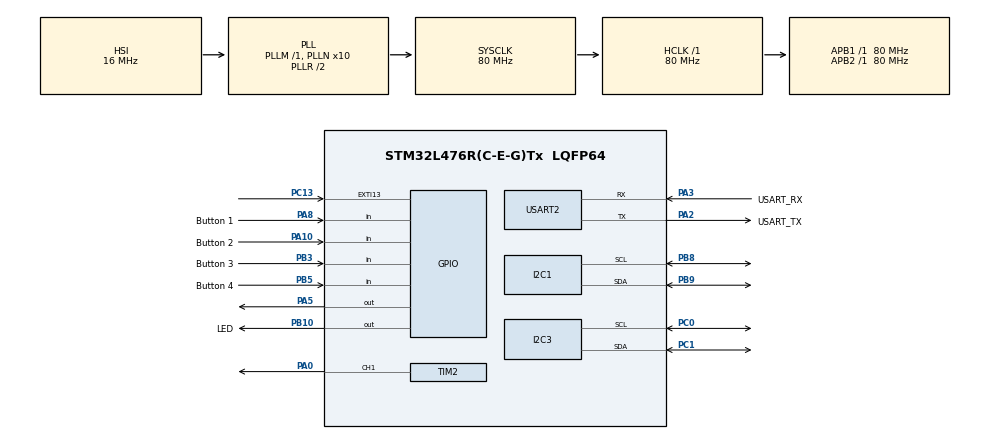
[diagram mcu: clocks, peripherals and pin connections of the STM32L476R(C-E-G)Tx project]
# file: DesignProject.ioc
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I2C1.Timing=0x10D19CE4
I2C3.Timing=0x10D19CE4
Mcu.Family=STM32L4
Mcu.Name=STM32L476R(C-E-G)Tx
Mcu.Package=LQFP64
NUCLEO-L476RG.BUTTON=1
NUCLEO-L476RG.LD2=true
NVIC.EXTI15_10_IRQn=true\:0\:0\:false\:false\:true\:false\:true\:true
NVIC.PriorityGroup=NVIC_PRIORITYGROUP_4
PA0.Signal=S_TIM2_CH1
PA10.GPIO_Label=Button 2
PA10.GPIO_PuPd=GPIO_PULLUP
PA10.Signal=GPIO_Input
PA13\ (JTMS-SWDIO).GPIO_Label=TMS
PA13\ (JTMS-SWDIO).Signal=SYS_JTMS-SWDIO
PA14\ (JTCK-SWCLK).GPIO_Label=TCK
PA14\ (JTCK-SWCLK).Signal=SYS_JTCK-SWCLK
PA2.GPIO_Label=USART_TX
PA2.GPIO_Mode=GPIO_MODE_AF_PP
PA2.GPIO_PuPd=GPIO_NOPULL
PA2.GPIO_Speed=GPIO_SPEED_FREQ_VERY_HIGH
PA2.Mode=Asynchronous
PA2.Signal=USART2_TX
PA3.GPIO_Label=USART_RX
PA3.GPIO_Mode=GPIO_MODE_AF_PP
PA3.GPIO_PuPd=GPIO_NOPULL
PA3.GPIO_Speed=GPIO_SPEED_FREQ_VERY_HIGH
PA3.Mode=Asynchronous
PA3.Signal=USART2_RX
PA5.Signal=GPIO_Output
PA8.GPIO_Label=Button 1
PA8.GPIO_PuPd=GPIO_PULLUP
PA8.Signal=GPIO_Input
PB10.GPIO_Label=LED
PB10.Signal=GPIO_Output
PB3\ (JTDO-TRACESWO).GPIO_Label=Button 3
PB3\ (JTDO-TRACESWO).GPIO_PuPd=GPIO_PULLUP
PB3\ (JTDO-TRACESWO).Signal=GPIO_Input
PB5.GPIO_Label=Button 4
PB5.GPIO_PuPd=GPIO_PULLUP
PB5.Signal=GPIO_Input
PB8.GPIO_Pu=GPIO_PULLUP
PB8.Mode=I2C
PB8.Signal=I2C1_SCL
PB9.GPIO_Pu=GPIO_PULLUP
PB9.Mode=I2C
PB9.Signal=I2C1_SDA
PC0.Mode=I2C
PC0.Signal=I2C3_SCL
PC1.Mode=I2C
PC1.Signal=I2C3_SDA
PC13.Signal=GPXTI13
PC14-OSC32_IN\ (PC14).Signal=RCC_OSC32_IN
PC15-OSC32_OUT\ (PC15).Signal=RCC_OSC32_OUT
PH0-OSC_IN\ (PH0).Signal=RCC_OSC_IN
PH1-OSC_OUT\ (PH1).Signal=RCC_OSC_OUT
ProjectManager.HeapSize=0x200
ProjectManager.StackSize=0x400
ProjectManager.TargetToolchain=CMake
RCC.ADCFreq_Value=64000000
RCC.AHBFreq_Value=80000000
RCC.APB1Freq_Value=80000000
RCC.APB1TimFreq_Value=80000000
RCC.APB2Freq_Value=80000000
RCC.APB2TimFreq_Value=80000000
RCC.CortexFreq_Value=80000000
RCC.HCLKFreq_Value=80000000
RCC.HSE_VALUE=8000000
RCC.HSI_VALUE=16000000
RCC.LSE_VALUE=32768
RCC.MSI_VALUE=4000000
RCC.PLLN=10
RCC.PLLSourceVirtual=RCC_PLLSOURCE_HSI
RCC.PREFETCH_ENABLE=1
RCC.SYSCLKFreq_VALUE=80000000
RCC.SYSCLKSource=RCC_SYSCLKSOURCE_PLLCLK
RCC.USBFreq_Value=64000000
RCC.VCOOutputFreq_Value=160000000
SH.S_TIM2_CH1.0=TIM2_CH1,PWM Generation1 CH1
TIM2.AutoReloadPreload=TIM_AUTORELOAD_PRELOAD_ENABLE
TIM2.Channel-PWM\ Generation1\ CH1=TIM_CHANNEL_1
TIM2.Period=999
TIM2.Prescaler=79
TIM2.Pulse-PWM\ Generation1\ CH1=500
USART2.VirtualMode-Asynchronous=VM_ASYNC
VP_NUCLEO-L476RG_VS_BSP_COMMON.Mode=COMMON
board=NUCLEO-L476RG

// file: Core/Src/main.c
/* USER CODE BEGIN Header */
/**
 ******************************************************************************
 * @file           : main.c
 * @brief          : Main program body
 ******************************************************************************
 * @attention
 *
 * Copyright (c) 2026 STMicroelectronics.
 * All rights reserved.
 *
 * This software is licensed under terms that can be found in the LICENSE file
 * in the root directory of this software component.
 * If no LICENSE file comes with this software, it is provided AS-IS.
 *
 ******************************************************************************
 */
/* USER CODE END Header */
#include "main.h"

/* USER CODE BEGIN Includes */
#include "LCD1602_I2C.h"
#include "buttons.h"
#include "oximeter.h"
#include "stm32l4xx_hal.h"
#include "stm32l4xx_hal_gpio.h"
#include "stm32l4xx_hal_tim.h"
#include <math.h>
#include <stdbool.h>
#include <stdint.h>
#include <stdio.h>
#include <string.h>
#include <strings.h>
#include "sss_detect.h"

/* USER CODE END Includes */

/* USER CODE BEGIN PD */
#define POLL_MS       250u /* sensor/display update period (ms) */
#define HIST_N        5    /* readings that must agree before HR is shown */
#define HR_SPREAD_MAX 12   /* max spread (bpm) across those readings */
#define LOST_GRACE    12   /* bad readings before finger counts as gone (3 s) */
/* USER CODE END PD */

I2C_HandleTypeDef hi2c1;
I2C_HandleTypeDef hi2c3;

TIM_HandleTypeDef htim2;

UART_HandleTypeDef huart2;

void SystemClock_Config(void);
static void MX_GPIO_Init(void);
static void MX_TIM2_Init(void);
static void MX_USART2_UART_Init(void);
static void MX_I2C1_Init(void);
static void MX_I2C3_Init(void);

/* USER CODE BEGIN 0 */
/* Pad to 16 chars so old text is overwritten */
static void pad16(char *s) {
  size_t n = strlen(s);
  while (n < 16u) {
    s[n++] = ' ';
  }
  s[16] = '\0';
}

/* HR display filter: show the median once the last HIST_N readings agree */
typedef struct {
  int32_t buf[HIST_N];
  uint8_t cnt;
  uint8_t idx;
} Hist;

static Hist s_hr_hist;
static int32_t s_hr_shown = -1;
static int32_t s_spo2_shown = -1;
static uint16_t s_lost = 0;

static void hist_reset(Hist *h) {
  h->cnt = 0;
  h->idx = 0;
}

static void hist_push(Hist *h, int32_t v) {
  h->buf[h->idx] = v;
  h->idx = (uint8_t)((h->idx + 1u) % HIST_N);
  if (h->cnt < HIST_N) {
    h->cnt++;
  }
}

/* Median if history is full and settled, else -1 */
static int32_t hist_stable(const Hist *h, int32_t spread_max) {
  int32_t t[HIST_N];
  uint8_t i, j;

  if (h->cnt < HIST_N) {
    return -1;
  }
  for (i = 0; i < HIST_N; i++) {
    t[i] = h->buf[i];
  }
  for (i = 1; i < HIST_N; i++) { /* insertion sort */
    int32_t k = t[i];
    j = i;
    while (j > 0u && t[j - 1] > k) {
      t[j] = t[j - 1];
      j--;
    }
    t[j] = k;
  }
  if ((t[HIST_N - 1] - t[0]) > spread_max) {
    return -1;
  }
  return t[HIST_N / 2];
}

typedef enum { ST_NO_FINGER, ST_MEASURING, ST_SHOW } DispState;

static DispState hr_step(int32_t raw_hr, int32_t raw_spo2) {
  if (raw_hr <= 0) {
    s_lost++;
    if (s_lost > LOST_GRACE) { /* finger really gone */
      hist_reset(&s_hr_hist);
      s_hr_shown = -1;
      s_spo2_shown = -1;
      return ST_NO_FINGER;
    }
    /* within grace period: hold what's on screen */
    if (s_hr_shown > 0) {
      return ST_SHOW;
    }
    if (s_hr_hist.cnt > 0) {
      return ST_MEASURING;
    }
    return ST_NO_FINGER;
  }

  s_lost = 0;
  hist_push(&s_hr_hist, raw_hr);
  {
    int32_t v = hist_stable(&s_hr_hist, HR_SPREAD_MAX);
    if (v > 0) {
      s_hr_shown = v;
      if (raw_spo2 > 0) {
        s_spo2_shown = raw_spo2;
      }
      return ST_SHOW;
    }
  }
  if (s_hr_shown > 0) {
    return ST_SHOW;
  } /* settled already, one bad tick */
  return ST_MEASURING;
}

static void build_lines(DispState st, uint8_t comm_ok, uint8_t spin, char *l1,
                        char *l2) {
  static const char *dots[4] = {"   ", ".  ", ".. ", "..."};

  if (!comm_ok) {
    strcpy(l1, "Sensor offline");
    strcpy(l2, "Check wiring");
  } else if (st == ST_NO_FINGER) {
    snprintf(l1, 17, "Place finger%s", dots[spin & 3u]);
    l2[0] = '\0';
  } else if (st == ST_MEASURING) {
    snprintf(l1, 17, "Measuring%s", dots[spin & 3u]);
    strcpy(l2, "Hold still");
  } else {
    int sp = (s_spo2_shown > 0 && s_spo2_shown <= 100) ? (int)s_spo2_shown : 0;
    int hr = (s_hr_shown > 0 && s_hr_shown <= 999) ? (int)s_hr_shown : 0;
    snprintf(l1, 17, "HR   %3d bpm", hr);
    snprintf(l2, 17, "SpO2 %3d %%", sp);
  }
  pad16(l1);
  pad16(l2);
}

/* Screens, menu items and settings */
typedef enum { UI_HOME, UI_MENU, UI_ALARM } UiState;
typedef enum { MI_LED, MI_SOUND, MI_SIM, MI_COUNT } MenuItem;

static UiState s_ui = UI_HOME;
static uint8_t s_cursor = 0;
static uint8_t s_led_alert = 1;
static uint8_t s_sound_alert = 1;
static uint8_t s_sim_mode = 0;

/* Button actions for the current screen */
static void ui_handle_buttons(void) {
    uint8_t menu = Buttons_Pressed(BTN_MENU);
    uint8_t back = Buttons_Pressed(BTN_BACK);
    uint8_t up = Buttons_Pressed(BTN_UP);
    uint8_t down = Buttons_Pressed(BTN_DOWN);

    switch (s_ui) {
        case UI_HOME:
            if (menu) {
                s_ui = UI_MENU;
                s_cursor = 0;
            }
            break;

        case UI_MENU:
            if (down) {
                s_cursor = (s_cursor + 1) % MI_COUNT;
            }
            if (up) {
                s_cursor = (s_cursor + MI_COUNT - 1) % MI_COUNT;
            }
            if (back) {
                s_ui = UI_HOME;
                s_cursor = 0;
            }

            else if (menu) {
                switch (s_cursor) {
                    case MI_LED:
                        s_led_alert = !s_led_alert;
                        break;
                    case MI_SOUND:
                        s_sound_alert = !s_sound_alert;
                        break;
                    case MI_SIM:
                        s_sim_mode = !s_sim_mode;
                        SSS_Init();
                        break;
                }
            }
            break;

        case UI_ALARM:
            if (menu) {
                SSS_Acknowledge(HAL_GetTick());
                s_ui = UI_HOME;
                s_cursor = 0;
            }
            break;
    }
}

/* Text for one menu item */
static void menu_label(uint8_t item, char *out) {
    switch (item) {
        case MI_LED:
            snprintf(out, 15, "LED alert %s", s_led_alert ? " ON" : "OFF");
            break;
        case MI_SOUND:
            snprintf(out, 15, "Sound     %s", s_sound_alert ? " ON" : "OFF");
            break;
        case MI_SIM:
            snprintf(out, 15, "Simulate  %s", s_sim_mode ? " ON" : "OFF");
            break;
    }
}

/* Set piezo frequency (timer ticks at 1 MHz) */
static void tone_set(uint32_t freq){
    uint32_t arr = 1000000u / freq -1;
    __HAL_TIM_SET_AUTORELOAD(&htim2, arr);
    __HAL_TIM_SET_COMPARE(&htim2, TIM_CHANNEL_1, (arr + 1) / 2);
}

/* LED triple flash and two-tone siren, gated by the menu settings */
static void alarm_output(uint8_t led_on, uint8_t sound_on){
    uint32_t now = HAL_GetTick();
    uint32_t led_phase = now % 1000;
    uint32_t tone_phase = now % 500;
    static uint32_t current_freq = 0;
    static uint8_t pwm_status = 0;

    if(led_on && s_led_alert){
        if (led_phase < 500){
            if (led_phase % 200 < 100){
                HAL_GPIO_WritePin(LED_GPIO_Port, LED_Pin, GPIO_PIN_SET);
            } else {
                HAL_GPIO_WritePin(LED_GPIO_Port, LED_Pin, GPIO_PIN_RESET);
            }
        } else {
            HAL_GPIO_WritePin(LED_GPIO_Port, LED_Pin, GPIO_PIN_RESET);
        }
    } else {
        HAL_GPIO_WritePin(LED_GPIO_Port, LED_Pin, GPIO_PIN_RESET);
    }
    if (sound_on && s_sound_alert) {
        if (pwm_status == 0) {
            HAL_TIM_PWM_Start(&htim2, TIM_CHANNEL_1);
            pwm_status = 1;
        }
        if(tone_phase < 250) {
            if (current_freq != 3000){
                current_freq = 3000;
                tone_set(current_freq);
            }
        } else if (current_freq != 4000){
            current_freq = 4000;
            tone_set(4000);
        }
    } else if (pwm_status == 1) {
        HAL_TIM_PWM_Stop(&htim2, TIM_CHANNEL_1);
        pwm_status = 0;
        current_freq = 0;
    }
}

/* Fake erratic BPM for the demo, new value every 4 s */
static float sim_bpm(void){
    static const float seq[] = { 60, 95, 58, 100, 65, 92, 55, 95 };

    uint8_t index = (HAL_GetTick() / 4000) % 8;

    return seq[index];
}

/* USER CODE END 0 */

int main(void) {

  /* MCU Configuration--------------------------------------------------------*/

  /* Reset of all peripherals, Initializes the Flash interface and the Systick.
   */
  HAL_Init();

  /* Configure the system clock */
  SystemClock_Config();

  /* Initialize all configured peripherals */
  MX_GPIO_Init();
  MX_TIM2_Init();
  MX_USART2_UART_Init();
  MX_I2C1_Init();
  MX_I2C3_Init();
  /* USER CODE BEGIN 2 */
  SSS_Init();
  lcd_init(&hi2c1);
  lcd_put_cur(0, 0);
  lcd_send_string(Oxi_IsPresent(&hi2c3) ? "HR OK" : "HR missing");
  Oxi_Start(&hi2c3);
  hist_reset(&s_hr_hist);
  HAL_Delay(1000);

  uint32_t last = 0;
  uint8_t spin = 0;
  uint32_t t_btn = 0;
  char line1[17], line2[17];
  char prev1[17] = "", prev2[17] = "";
  char a[15], b[15];

  /* Start-up beeps */
  tone_set(1000);
  for (int i = 0; i < 3; i++) {
    HAL_GPIO_WritePin(LED_GPIO_Port, LED_Pin, GPIO_PIN_SET);
    HAL_TIM_PWM_Start(&htim2, TIM_CHANNEL_1);
    HAL_Delay(150);
    HAL_GPIO_WritePin(LED_GPIO_Port, LED_Pin, GPIO_PIN_RESET);
    HAL_TIM_PWM_Stop(&htim2, TIM_CHANNEL_1);
    HAL_Delay(150);
  }

  /* USER CODE END 2 */

  /* Initialize leds */
  BSP_LED_Init(LED_GREEN);

  /* Initialize USER push-button, will be used to trigger an interrupt each time
   * it's pressed.*/
  BSP_PB_Init(BUTTON_USER, BUTTON_MODE_EXTI);

  /* Infinite loop */
  while (1) {

    /* USER CODE BEGIN 3 */
    /* Buttons every 10 ms */
    if (HAL_GetTick() - t_btn >= 10) {
      t_btn = HAL_GetTick();
      Buttons_Task();
      ui_handle_buttons();
    }
    /* Sensor, detector and display every POLL_MS */
    if (HAL_GetTick() - last >= POLL_MS) {
      last = HAL_GetTick();

      OxiReading rd;
      uint8_t ok = (Oxi_Read(&rd) == HAL_OK) ? 1u : 0u;
      DispState st = ok ? hr_step(rd.heartbeat, rd.spo2) : ST_NO_FINGER;

      /* Real or simulated input to the detector */
      float bpm = s_sim_mode ? sim_bpm() : (float)rd.heartbeat;
      bool finger = s_sim_mode ? true : (st != ST_NO_FINGER);

      SSS_OnReading(HAL_GetTick(), bpm);
      SSS_Update(HAL_GetTick(), finger);

      const SSS_Status *s = SSS_GetStatus();

      /* Show the alarm screen when the piezo should sound */
      if (s->sound && s_ui == UI_HOME) {
        s_ui = UI_ALARM;
      }

      /* Build the two LCD lines for the current screen */
      if (s_ui == UI_MENU) {
        menu_label(s_cursor, a);
        menu_label((s_cursor + 1) % MI_COUNT, b);

        snprintf(line1, 17, "> %s", a);
        snprintf(line2, 17, "  %s", b);

        pad16(line1);
        pad16(line2);
      } else if (s_ui == UI_ALARM) {
        SSS_GetText(line1);
        strcpy(line2, "Menu = silence");
        pad16(line1);
        pad16(line2);
      } else {
        if (s_sim_mode){
            SSS_GetText(line1);
            strcpy(line2, "** SIMULATION **");
            pad16(line1);
            pad16(line2);
        } else {
            build_lines(st, ok, spin, line1, line2);
        }
      }

      /* Only redraw lines that changed */
      if (strncmp(prev1, line1, 16) != 0) {
        lcd_put_cur(0, 0);
        lcd_send_string(line1);
        strncpy(prev1, line1, sizeof prev1);
      }
      if (strncmp(prev2, line2, 16) != 0) {
        lcd_put_cur(1, 0);
        lcd_send_string(line2);
        strncpy(prev2, line2, sizeof prev2);
      }
      spin++;
    }
    /* Alarm outputs run every pass so the patterns stay smooth */
    const SSS_Status *s = SSS_GetStatus();
    alarm_output(s->alarm, s->sound);
  }
  /* USER CODE END 3 */
}

void SystemClock_Config(void) {
  RCC_OscInitTypeDef RCC_OscInitStruct = {0};
  RCC_ClkInitTypeDef RCC_ClkInitStruct = {0};

  /** Configure the main internal regulator output voltage
   */
  if (HAL_PWREx_ControlVoltageScaling(PWR_REGULATOR_VOLTAGE_SCALE1) != HAL_OK) {
    Error_Handler();
  }

  /** Initializes the RCC Oscillators according to the specified parameters
   * in the RCC_OscInitTypeDef structure.
   */
  RCC_OscInitStruct.OscillatorType = RCC_OSCILLATORTYPE_HSI;
  RCC_OscInitStruct.HSIState = RCC_HSI_ON;
  RCC_OscInitStruct.HSICalibrationValue = RCC_HSICALIBRATION_DEFAULT;
  RCC_OscInitStruct.PLL.PLLState = RCC_PLL_ON;
  RCC_OscInitStruct.PLL.PLLSource = RCC_PLLSOURCE_HSI;
  RCC_OscInitStruct.PLL.PLLM = 1;
  RCC_OscInitStruct.PLL.PLLN = 10;
  RCC_OscInitStruct.PLL.PLLP = RCC_PLLP_DIV7;
  RCC_OscInitStruct.PLL.PLLQ = RCC_PLLQ_DIV2;
  RCC_OscInitStruct.PLL.PLLR = RCC_PLLR_DIV2;
  if (HAL_RCC_OscConfig(&RCC_OscInitStruct) != HAL_OK) {
    Error_Handler();
  }

  /** Initializes the CPU, AHB and APB buses clocks
   */
  RCC_ClkInitStruct.ClockType = RCC_CLOCKTYPE_HCLK | RCC_CLOCKTYPE_SYSCLK |
                                RCC_CLOCKTYPE_PCLK1 | RCC_CLOCKTYPE_PCLK2;
  RCC_ClkInitStruct.SYSCLKSource = RCC_SYSCLKSOURCE_PLLCLK;
  RCC_ClkInitStruct.AHBCLKDivider = RCC_SYSCLK_DIV1;
  RCC_ClkInitStruct.APB1CLKDivider = RCC_HCLK_DIV1;
  RCC_ClkInitStruct.APB2CLKDivider = RCC_HCLK_DIV1;

  if (HAL_RCC_ClockConfig(&RCC_ClkInitStruct, FLASH_LATENCY_4) != HAL_OK) {
    Error_Handler();
  }
}

static void MX_I2C1_Init(void) {

  hi2c1.Instance = I2C1;
  hi2c1.Init.Timing = 0x10D19CE4;
  hi2c1.Init.OwnAddress1 = 0;
  hi2c1.Init.AddressingMode = I2C_ADDRESSINGMODE_7BIT;
  hi2c1.Init.DualAddressMode = I2C_DUALADDRESS_DISABLE;
  hi2c1.Init.OwnAddress2 = 0;
  hi2c1.Init.OwnAddress2Masks = I2C_OA2_NOMASK;
  hi2c1.Init.GeneralCallMode = I2C_GENERALCALL_DISABLE;
  hi2c1.Init.NoStretchMode = I2C_NOSTRETCH_DISABLE;
  if (HAL_I2C_Init(&hi2c1) != HAL_OK) {
    Error_Handler();
  }

  /** Configure Analogue filter
   */
  if (HAL_I2CEx_ConfigAnalogFilter(&hi2c1, I2C_ANALOGFILTER_ENABLE) != HAL_OK) {
    Error_Handler();
  }

  /** Configure Digital filter
   */
  if (HAL_I2CEx_ConfigDigitalFilter(&hi2c1, 0) != HAL_OK) {
    Error_Handler();
  }
}

static void MX_I2C3_Init(void) {

  hi2c3.Instance = I2C3;
  hi2c3.Init.Timing = 0x10D19CE4;
  hi2c3.Init.OwnAddress1 = 0;
  hi2c3.Init.AddressingMode = I2C_ADDRESSINGMODE_7BIT;
  hi2c3.Init.DualAddressMode = I2C_DUALADDRESS_DISABLE;
  hi2c3.Init.OwnAddress2 = 0;
  hi2c3.Init.OwnAddress2Masks = I2C_OA2_NOMASK;
  hi2c3.Init.GeneralCallMode = I2C_GENERALCALL_DISABLE;
  hi2c3.Init.NoStretchMode = I2C_NOSTRETCH_DISABLE;
  if (HAL_I2C_Init(&hi2c3) != HAL_OK) {
    Error_Handler();
  }

  /** Configure Analogue filter
   */
  if (HAL_I2CEx_ConfigAnalogFilter(&hi2c3, I2C_ANALOGFILTER_ENABLE) != HAL_OK) {
    Error_Handler();
  }

  /** Configure Digital filter
   */
  if (HAL_I2CEx_ConfigDigitalFilter(&hi2c3, 0) != HAL_OK) {
    Error_Handler();
  }
}

static void MX_TIM2_Init(void) {

  TIM_MasterConfigTypeDef sMasterConfig = {0};
  TIM_OC_InitTypeDef sConfigOC = {0};

  htim2.Instance = TIM2;
  htim2.Init.Prescaler = 79;
  htim2.Init.CounterMode = TIM_COUNTERMODE_UP;
  htim2.Init.Period = 999;
  htim2.Init.ClockDivision = TIM_CLOCKDIVISION_DIV1;
  htim2.Init.AutoReloadPreload = TIM_AUTORELOAD_PRELOAD_ENABLE;
  if (HAL_TIM_PWM_Init(&htim2) != HAL_OK) {
    Error_Handler();
  }
  sMasterConfig.MasterOutputTrigger = TIM_TRGO_RESET;
  sMasterConfig.MasterSlaveMode = TIM_MASTERSLAVEMODE_DISABLE;
  if (HAL_TIMEx_MasterConfigSynchronization(&htim2, &sMasterConfig) != HAL_OK) {
    Error_Handler();
  }
  sConfigOC.OCMode = TIM_OCMODE_PWM1;
  sConfigOC.Pulse = 500;
  sConfigOC.OCPolarity = TIM_OCPOLARITY_HIGH;
  sConfigOC.OCFastMode = TIM_OCFAST_DISABLE;
  if (HAL_TIM_PWM_ConfigChannel(&htim2, &sConfigOC, TIM_CHANNEL_1) != HAL_OK) {
    Error_Handler();
  }
  HAL_TIM_MspPostInit(&htim2);
}

static void MX_USART2_UART_Init(void) {

  huart2.Instance = USART2;
  huart2.Init.BaudRate = 115200;
  huart2.Init.WordLength = UART_WORDLENGTH_8B;
  huart2.Init.StopBits = UART_STOPBITS_1;
  huart2.Init.Parity = UART_PARITY_NONE;
  huart2.Init.Mode = UART_MODE_TX_RX;
  huart2.Init.HwFlowCtl = UART_HWCONTROL_NONE;
  huart2.Init.OverSampling = UART_OVERSAMPLING_16;
  huart2.Init.OneBitSampling = UART_ONE_BIT_SAMPLE_DISABLE;
  huart2.AdvancedInit.AdvFeatureInit = UART_ADVFEATURE_NO_INIT;
  if (HAL_UART_Init(&huart2) != HAL_OK) {
    Error_Handler();
  }
}

static void MX_GPIO_Init(void) {
  GPIO_InitTypeDef GPIO_InitStruct = {0};

  /* GPIO Ports Clock Enable */
  __HAL_RCC_GPIOC_CLK_ENABLE();
  __HAL_RCC_GPIOH_CLK_ENABLE();
  __HAL_RCC_GPIOA_CLK_ENABLE();
  __HAL_RCC_GPIOB_CLK_ENABLE();

  /*Configure GPIO pin Output Level */
  HAL_GPIO_WritePin(LED_GPIO_Port, LED_Pin, GPIO_PIN_RESET);

  /*Configure GPIO pin : LED_Pin */
  GPIO_InitStruct.Pin = LED_Pin;
  GPIO_InitStruct.Mode = GPIO_MODE_OUTPUT_PP;
  GPIO_InitStruct.Pull = GPIO_NOPULL;
  GPIO_InitStruct.Speed = GPIO_SPEED_FREQ_LOW;
  HAL_GPIO_Init(LED_GPIO_Port, &GPIO_InitStruct);

  /*Configure GPIO pins : Button_1_Pin Button_2_Pin */
  GPIO_InitStruct.Pin = Button_1_Pin | Button_2_Pin;
  GPIO_InitStruct.Mode = GPIO_MODE_INPUT;
  GPIO_InitStruct.Pull = GPIO_PULLUP;
  HAL_GPIO_Init(GPIOA, &GPIO_InitStruct);

  /*Configure GPIO pins : Button_3_Pin Button_4_Pin */
  GPIO_InitStruct.Pin = Button_3_Pin | Button_4_Pin;
  GPIO_InitStruct.Mode = GPIO_MODE_INPUT;
  GPIO_InitStruct.Pull = GPIO_PULLUP;
  HAL_GPIO_Init(GPIOB, &GPIO_InitStruct);

}

void Error_Handler(void) {
  __disable_irq();
  while (1) {
  }
}
#ifdef USE_FULL_ASSERT
/**
 * @brief  Reports the name of the source file and the source line number
 *         where the assert_param error has occurred.
 * @param  file: pointer to the source file name
 * @param  line: assert_param error line source number
 * @retval None
 */
void assert_failed(uint8_t *file, uint32_t line) {
  /* USER CODE BEGIN 6 */
  /* User can add his own implementation to report the file name and line
     number, ex: printf("Wrong parameters value: file %s on line %d\r\n", file,
     line) */
  /* USER CODE END 6 */
}
#endif /* USE_FULL_ASSERT */
